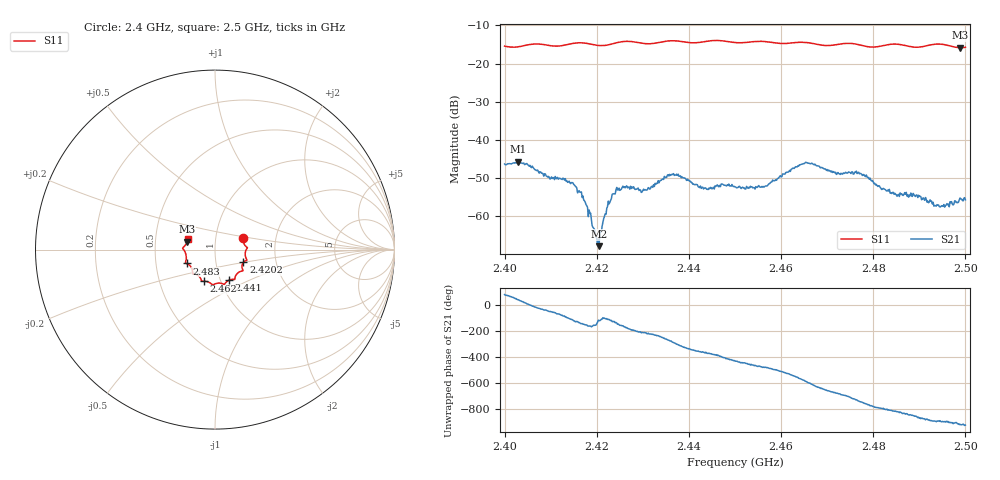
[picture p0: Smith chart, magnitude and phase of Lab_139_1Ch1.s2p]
# Hz S RI R 50
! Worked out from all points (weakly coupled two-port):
!   601 points, 2.4 GHz to 2.5 GHz, reference 50 ohm
!   highest |S21| = -45.64 dB at 2.403 GHz (marker M1); lowest = -67.8 dB at 2.4205 GHz (marker M2)
!   lowest |S11| = -15.8 dB at 2.4988 GHz (marker M3), VSWR 1.39, Z = 36.4 + j3.28 ohm
!   |S11| at or under -10 dB: start of sweep to end of sweep
!   S12 and S22 are empty: the file has one direction only
!   S11 on the Smith chart (normalised r, x): 2.4 GHz: 1.36, +0.18; 2.4202 GHz: 1.36, -0.20; 2.441 GHz: 1.10, -0.39; 2.462 GHz: 0.84, -0.30; 2.483 GHz: 0.72, -0.11; 2.5 GHz: 0.73, +0.09
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2.4e9  0.1573 0.0628  0.000503 0.00484  0 0  0 0
2.403e9  0.1638 0.0284  0.00376 0.00363  0 0  0 0
2.4145e9  0.1751 -0.0521  -0.000885 -0.00263  0 0  0 0
2.416667e9  0.1778 -0.0593  -0.00163 -0.00131  0 0  0 0
2.420167e9  0.1583 -0.0709  -0.000269 -0.000323  0 0  0 0
2.4205e9  0.1564 -0.0731  -0.000185 -0.000364  0 0  0 0
2.422e9  0.1503 -0.0872  -0.000256 -0.00103  0 0  0 0
2.423833e9  0.1519 -0.105  -0.00115 -0.00161  0 0  0 0
2.430167e9  0.1345 -0.1251  -0.00195 0.00117  0 0  0 0
2.433333e9  0.1128 -0.1509  -0.00171 0.00239  0 0  0 0
2.436833e9  0.1096 -0.1663  0.00118 0.00324  0 0  0 0
2.441e9  0.0786 -0.1699  0.00256 0.000687  0 0  0 0
2.45e9  0.0286 -0.1869  0.000859 -0.00228  0 0  0 0
2.4565e9  -0.0163 -0.1939  -0.0012 -0.00218  0 0  0 0
2.462e9  -0.0603 -0.1757  -0.00387 -0.00034  0 0  0 0
2.466667e9  -0.0773 -0.1678  -0.00173 0.00467  0 0  0 0
2.476833e9  -0.1253 -0.1253  0.00356 -0.0013  0 0  0 0
2.483e9  -0.1587 -0.0774  0.000283 -0.00213  0 0  0 0
2.483333e9  -0.1605 -0.0767  9.66e-05 -0.00215  0 0  0 0
2.494667e9  -0.1796 0.00973  -0.00135 -4.64e-05  0 0  0 0
2.498833e9  -0.1554 0.0439  -0.00165 0.000568  0 0  0 0
2.5e9  -0.152 0.0611  -0.00149 0.000713  0 0  0 0
